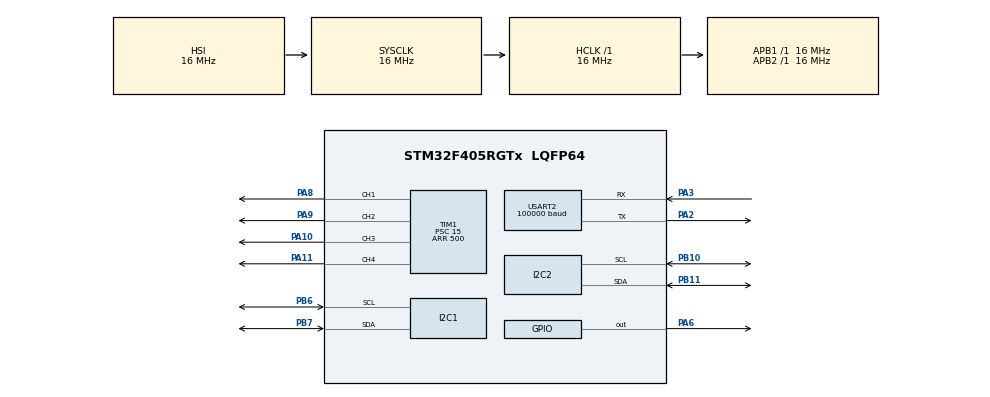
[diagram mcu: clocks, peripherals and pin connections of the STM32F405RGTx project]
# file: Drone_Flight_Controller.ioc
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Mcu.Family=STM32F4
Mcu.Name=STM32F405RGTx
Mcu.Package=LQFP64
NVIC.PriorityGroup=NVIC_PRIORITYGROUP_4
NVIC.USART2_IRQn=true\:0\:0\:false\:false\:true\:true\:true\:true
PA10.GPIO_Speed=GPIO_SPEED_FREQ_VERY_HIGH
PA10.Signal=S_TIM1_CH3
PA11.GPIO_Speed=GPIO_SPEED_FREQ_VERY_HIGH
PA11.Signal=S_TIM1_CH4
PA13.Mode=Serial_Wire
PA13.Signal=SYS_JTMS-SWDIO
PA14.Mode=Serial_Wire
PA14.Signal=SYS_JTCK-SWCLK
PA2.Mode=Asynchronous
PA2.Signal=USART2_TX
PA3.Mode=Asynchronous
PA3.Signal=USART2_RX
PA6.Signal=GPIO_Output
PA8.GPIO_Speed=GPIO_SPEED_FREQ_VERY_HIGH
PA8.Signal=S_TIM1_CH1
PA9.GPIO_Speed=GPIO_SPEED_FREQ_VERY_HIGH
PA9.Signal=S_TIM1_CH2
PB10.Mode=I2C
PB10.Signal=I2C2_SCL
PB11.Mode=I2C
PB11.Signal=I2C2_SDA
PB6.Mode=I2C
PB6.Signal=I2C1_SCL
PB7.Mode=I2C
PB7.Signal=I2C1_SDA
PH0-OSC_IN.Mode=HSE-External-Oscillator
PH0-OSC_IN.Signal=RCC_OSC_IN
PH1-OSC_OUT.Mode=HSE-External-Oscillator
PH1-OSC_OUT.Signal=RCC_OSC_OUT
ProjectManager.HeapSize=0x200
ProjectManager.StackSize=0x400
ProjectManager.TargetToolchain=STM32CubeIDE
RCC.48MHZClocksFreq_Value=36000000
RCC.AHBFreq_Value=16000000
RCC.APB1Freq_Value=16000000
RCC.APB1TimFreq_Value=16000000
RCC.APB2Freq_Value=16000000
RCC.APB2TimFreq_Value=16000000
RCC.CortexFreq_Value=16000000
RCC.HCLKFreq_Value=16000000
RCC.HSE_VALUE=25000000
RCC.HSI_VALUE=16000000
RCC.LSE_VALUE=32768
RCC.PLLM=8
RCC.PLLN=72
RCC.PLLP=RCC_PLLP_DIV6
RCC.SYSCLKFreq_VALUE=16000000
RCC.VCOOutputFreq_Value=144000000
SH.S_TIM1_CH1.0=TIM1_CH1,PWM Generation1 CH1
SH.S_TIM1_CH2.0=TIM1_CH2,PWM Generation2 CH2
SH.S_TIM1_CH3.0=TIM1_CH3,PWM Generation3 CH3
SH.S_TIM1_CH4.0=TIM1_CH4,PWM Generation4 CH4
TIM1.AutoReloadPreload=TIM_AUTORELOAD_PRELOAD_ENABLE
TIM1.Channel-PWM\ Generation1\ CH1=TIM_CHANNEL_1
TIM1.Channel-PWM\ Generation2\ CH2=TIM_CHANNEL_2
TIM1.Channel-PWM\ Generation3\ CH3=TIM_CHANNEL_3
TIM1.Channel-PWM\ Generation4\ CH4=TIM_CHANNEL_4
TIM1.OCFastMode_PWM-PWM\ Generation1\ CH1=TIM_OCFAST_DISABLE
TIM1.OCFastMode_PWM-PWM\ Generation2\ CH2=TIM_OCFAST_DISABLE
TIM1.OCFastMode_PWM-PWM\ Generation3\ CH3=TIM_OCFAST_DISABLE
TIM1.OCFastMode_PWM-PWM\ Generation4\ CH4=TIM_OCFAST_DISABLE
TIM1.Period=500
TIM1.Prescaler=15
TIM1.Pulse-PWM\ Generation1\ CH1=125
TIM1.Pulse-PWM\ Generation2\ CH2=125
TIM1.Pulse-PWM\ Generation3\ CH3=125
TIM1.Pulse-PWM\ Generation4\ CH4=125
USART2.BaudRate=100000
USART2.Parity=PARITY_EVEN
USART2.StopBits=STOPBITS_2
USART2.VirtualMode=VM_ASYNC
VP_TIM1_VS_ClockSourceINT.Mode=Internal
VP_TIM2_VS_ClockSourceINT.Mode=Internal
board=custom

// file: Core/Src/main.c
/* USER CODE BEGIN Header */
/**
  ******************************************************************************
  * @file           : main.c
  * @brief          : Main program body
  ******************************************************************************
  * @attention
  *
  * Copyright (c) 2025 STMicroelectronics.
  * All rights reserved.
  *
  * This software is licensed under terms that can be found in the LICENSE file
  * in the root directory of this software component.
  * If no LICENSE file comes with this software, it is provided AS-IS.
  *
  ******************************************************************************
  */
/* USER CODE END Header */
#include "main.h"

I2C_HandleTypeDef hi2c1;
I2C_HandleTypeDef hi2c2;

TIM_HandleTypeDef htim1;
TIM_HandleTypeDef htim2;

UART_HandleTypeDef huart2;

/* USER CODE BEGIN PV */

volatile unsigned char IMU_ready = 0;
volatile unsigned char Mag_ready = 0;
volatile unsigned char Baro_ready = 0;

volatile unsigned char armed = 1;

// Sensor Variables
float accel_x = 0;
float accel_y = 0;
float accel_z = 0;
float gyro_x = 0;
float gyro_y = 0;
float gyro_z = 0;

float temperature = 0;
float pressure = 0;

float mag_x = 0;
float mag_y = 0;
float mag_z = 0;

uint8_t sbusData[25];

float desired_throttle = MIN_ESC_PWM;
float desired_roll = MIN_ESC_PWM;
float desired_pitch = MIN_ESC_PWM;
float desired_yaw = MIN_ESC_PWM;

/* USER CODE END PV */

void SystemClock_Config(void);
static void MX_GPIO_Init(void);
static void MX_I2C1_Init(void);
static void MX_TIM1_Init(void);
static void MX_USART2_UART_Init(void);
static void MX_I2C2_Init(void);
static void MX_TIM2_Init(void);
/* USER CODE BEGIN PFP */

uint32_t result3 = 0;
void HAL_UART_RxCpltCallback(UART_HandleTypeDef *huart){
	result3 = 100;
	if (huart->Instance == USART2) {
//		if (sbusData[0] == 0x0F && sbusData[24] == 0x00) {
//			// Valid SBUS packet, process channels
//	    	receive_command(sbusData, &desired_roll, &desired_pitch, &desired_yaw, &desired_throttle);
//		}
		HAL_UART_Receive_IT(&huart2, sbusData, 25);
	}
}

void buzzer_on(){
	HAL_GPIO_WritePin(GPIOA, GPIO_PIN_6, GPIO_PIN_SET);
}

void buzzer_off(){
	HAL_GPIO_WritePin(GPIOA, GPIO_PIN_6, GPIO_PIN_RESET);
}

/* USER CODE END PFP */

/* USER CODE BEGIN 0 */

PIDController pid_roll, pid_pitch, pid_yaw;

uint16_t my_motor_value[4] = {50, 50, 50, 48};

/* USER CODE END 0 */

int main(void)
{

  /* MCU Configuration--------------------------------------------------------*/

  /* Reset of all peripherals, Initializes the Flash interface and the Systick. */
  HAL_Init();

  /* Configure the system clock */
  SystemClock_Config();

  /* Initialize all configured peripherals */
  MX_GPIO_Init();
  MX_I2C1_Init();
  MX_TIM1_Init();
  MX_USART2_UART_Init();
  MX_I2C2_Init();
  MX_TIM2_Init();
  /* USER CODE BEGIN 2 */

  // Arm Motors
  Motors_Arm();

//  HAL_Delay(100);
//  init_sensors(&hi2c1);
//  HAL_Delay(100);

  // Begin Listening for radio commands
  HAL_UART_Receive_IT(&huart2, sbusData, 25);

  buzzer_on();

  // Initialize PID controllers (tune these values)
//  PID_Init(&pid_roll, 1.2, 0.01, 0.05, ROLL_MIN, ROLL_MAX);
//  PID_Init(&pid_pitch, 1.2, 0.01, 0.05, PITCH_MIN, PITCH_MAX);
//  PID_Init(&pid_yaw, 1.5, 0.02, 0.1, YAW_MIN, YAW_MAX);

  /* USER CODE END 2 */

  /* Infinite loop */
  /* USER CODE BEGIN WHILE */
  while (1)
  {
//	  if (IMU_ready){
//		  IMU_ready = 0;
//		  read_IMU(&hi2c1, &accel_x, &accel_y, &accel_z, &gyro_x, &gyro_y, &gyro_z);
//
//		  float roll = accel_x;
//		  float pitch = accel_y;
//		  float yaw = accel_z;
//
//		  // Compute PID corrections
//		  float roll_correction = PID_Compute(&pid_roll, desired_roll, roll, 1);
//		  float pitch_correction = PID_Compute(&pid_pitch, desired_pitch, pitch, 1);
//		  float yaw_correction = PID_Compute(&pid_yaw, desired_yaw, yaw, 1);
//
//		  // Apply corrections to motors
//		  set_motor_speeds(desired_throttle, roll_correction, pitch_correction, yaw_correction);
//	  }
//	  if (Mag_ready){
//		  Mag_ready = 0;
//		  read_Mag(&hi2c1, &mag_x, &mag_y, &mag_z);
//	  }
//	  if (Baro_ready){
//		  Baro_ready = 0;
//		  read_Baro(&hi2c1, &temperature, &pressure);
//	  }

	  HAL_Delay(1);

    /* USER CODE END WHILE */

  }
}

void SystemClock_Config(void)
{
  RCC_OscInitTypeDef RCC_OscInitStruct = {0};
  RCC_ClkInitTypeDef RCC_ClkInitStruct = {0};

  /** Configure the main internal regulator output voltage
  */
  __HAL_RCC_PWR_CLK_ENABLE();
  __HAL_PWR_VOLTAGESCALING_CONFIG(PWR_REGULATOR_VOLTAGE_SCALE1);

  /** Initializes the RCC Oscillators according to the specified parameters
  * in the RCC_OscInitTypeDef structure.
  */
  RCC_OscInitStruct.OscillatorType = RCC_OSCILLATORTYPE_HSI;
  RCC_OscInitStruct.HSIState = RCC_HSI_ON;
  RCC_OscInitStruct.HSICalibrationValue = RCC_HSICALIBRATION_DEFAULT;
  RCC_OscInitStruct.PLL.PLLState = RCC_PLL_NONE;
  if (HAL_RCC_OscConfig(&RCC_OscInitStruct) != HAL_OK)
  {
    Error_Handler();
  }

  /** Initializes the CPU, AHB and APB buses clocks
  */
  RCC_ClkInitStruct.ClockType = RCC_CLOCKTYPE_HCLK|RCC_CLOCKTYPE_SYSCLK
                              |RCC_CLOCKTYPE_PCLK1|RCC_CLOCKTYPE_PCLK2;
  RCC_ClkInitStruct.SYSCLKSource = RCC_SYSCLKSOURCE_HSI;
  RCC_ClkInitStruct.AHBCLKDivider = RCC_SYSCLK_DIV1;
  RCC_ClkInitStruct.APB1CLKDivider = RCC_HCLK_DIV1;
  RCC_ClkInitStruct.APB2CLKDivider = RCC_HCLK_DIV1;

  if (HAL_RCC_ClockConfig(&RCC_ClkInitStruct, FLASH_LATENCY_0) != HAL_OK)
  {
    Error_Handler();
  }
}

static void MX_I2C1_Init(void)
{

  hi2c1.Instance = I2C1;
  hi2c1.Init.ClockSpeed = 100000;
  hi2c1.Init.DutyCycle = I2C_DUTYCYCLE_2;
  hi2c1.Init.OwnAddress1 = 0;
  hi2c1.Init.AddressingMode = I2C_ADDRESSINGMODE_7BIT;
  hi2c1.Init.DualAddressMode = I2C_DUALADDRESS_DISABLE;
  hi2c1.Init.OwnAddress2 = 0;
  hi2c1.Init.GeneralCallMode = I2C_GENERALCALL_DISABLE;
  hi2c1.Init.NoStretchMode = I2C_NOSTRETCH_DISABLE;
  if (HAL_I2C_Init(&hi2c1) != HAL_OK)
  {
    Error_Handler();
  }

}

static void MX_I2C2_Init(void)
{

  hi2c2.Instance = I2C2;
  hi2c2.Init.ClockSpeed = 100000;
  hi2c2.Init.DutyCycle = I2C_DUTYCYCLE_2;
  hi2c2.Init.OwnAddress1 = 0;
  hi2c2.Init.AddressingMode = I2C_ADDRESSINGMODE_7BIT;
  hi2c2.Init.DualAddressMode = I2C_DUALADDRESS_DISABLE;
  hi2c2.Init.OwnAddress2 = 0;
  hi2c2.Init.GeneralCallMode = I2C_GENERALCALL_DISABLE;
  hi2c2.Init.NoStretchMode = I2C_NOSTRETCH_DISABLE;
  if (HAL_I2C_Init(&hi2c2) != HAL_OK)
  {
    Error_Handler();
  }

}

static void MX_TIM1_Init(void)
{

  TIM_ClockConfigTypeDef sClockSourceConfig = {0};
  TIM_MasterConfigTypeDef sMasterConfig = {0};
  TIM_OC_InitTypeDef sConfigOC = {0};
  TIM_BreakDeadTimeConfigTypeDef sBreakDeadTimeConfig = {0};

  htim1.Instance = TIM1;
  htim1.Init.Prescaler = 15;
  htim1.Init.CounterMode = TIM_COUNTERMODE_UP;
  htim1.Init.Period = 500;
  htim1.Init.ClockDivision = TIM_CLOCKDIVISION_DIV1;
  htim1.Init.RepetitionCounter = 0;
  htim1.Init.AutoReloadPreload = TIM_AUTORELOAD_PRELOAD_ENABLE;
  if (HAL_TIM_Base_Init(&htim1) != HAL_OK)
  {
    Error_Handler();
  }
  sClockSourceConfig.ClockSource = TIM_CLOCKSOURCE_INTERNAL;
  if (HAL_TIM_ConfigClockSource(&htim1, &sClockSourceConfig) != HAL_OK)
  {
    Error_Handler();
  }
  if (HAL_TIM_PWM_Init(&htim1) != HAL_OK)
  {
    Error_Handler();
  }
  sMasterConfig.MasterOutputTrigger = TIM_TRGO_RESET;
  sMasterConfig.MasterSlaveMode = TIM_MASTERSLAVEMODE_DISABLE;
  if (HAL_TIMEx_MasterConfigSynchronization(&htim1, &sMasterConfig) != HAL_OK)
  {
    Error_Handler();
  }
  sConfigOC.OCMode = TIM_OCMODE_PWM1;
  sConfigOC.Pulse = 125;
  sConfigOC.OCPolarity = TIM_OCPOLARITY_HIGH;
  sConfigOC.OCNPolarity = TIM_OCNPOLARITY_HIGH;
  sConfigOC.OCFastMode = TIM_OCFAST_DISABLE;
  sConfigOC.OCIdleState = TIM_OCIDLESTATE_RESET;
  sConfigOC.OCNIdleState = TIM_OCNIDLESTATE_RESET;
  if (HAL_TIM_PWM_ConfigChannel(&htim1, &sConfigOC, TIM_CHANNEL_1) != HAL_OK)
  {
    Error_Handler();
  }
  if (HAL_TIM_PWM_ConfigChannel(&htim1, &sConfigOC, TIM_CHANNEL_2) != HAL_OK)
  {
    Error_Handler();
  }
  if (HAL_TIM_PWM_ConfigChannel(&htim1, &sConfigOC, TIM_CHANNEL_3) != HAL_OK)
  {
    Error_Handler();
  }
  if (HAL_TIM_PWM_ConfigChannel(&htim1, &sConfigOC, TIM_CHANNEL_4) != HAL_OK)
  {
    Error_Handler();
  }
  sBreakDeadTimeConfig.OffStateRunMode = TIM_OSSR_DISABLE;
  sBreakDeadTimeConfig.OffStateIDLEMode = TIM_OSSI_DISABLE;
  sBreakDeadTimeConfig.LockLevel = TIM_LOCKLEVEL_OFF;
  sBreakDeadTimeConfig.DeadTime = 0;
  sBreakDeadTimeConfig.BreakState = TIM_BREAK_DISABLE;
  sBreakDeadTimeConfig.BreakPolarity = TIM_BREAKPOLARITY_HIGH;
  sBreakDeadTimeConfig.AutomaticOutput = TIM_AUTOMATICOUTPUT_DISABLE;
  if (HAL_TIMEx_ConfigBreakDeadTime(&htim1, &sBreakDeadTimeConfig) != HAL_OK)
  {
    Error_Handler();
  }
  HAL_TIM_MspPostInit(&htim1);

}

static void MX_TIM2_Init(void)
{

  TIM_ClockConfigTypeDef sClockSourceConfig = {0};
  TIM_MasterConfigTypeDef sMasterConfig = {0};

  htim2.Instance = TIM2;
  htim2.Init.Prescaler = 0;
  htim2.Init.CounterMode = TIM_COUNTERMODE_UP;
  htim2.Init.Period = 4294967295;
  htim2.Init.ClockDivision = TIM_CLOCKDIVISION_DIV1;
  htim2.Init.AutoReloadPreload = TIM_AUTORELOAD_PRELOAD_DISABLE;
  if (HAL_TIM_Base_Init(&htim2) != HAL_OK)
  {
    Error_Handler();
  }
  sClockSourceConfig.ClockSource = TIM_CLOCKSOURCE_INTERNAL;
  if (HAL_TIM_ConfigClockSource(&htim2, &sClockSourceConfig) != HAL_OK)
  {
    Error_Handler();
  }
  sMasterConfig.MasterOutputTrigger = TIM_TRGO_RESET;
  sMasterConfig.MasterSlaveMode = TIM_MASTERSLAVEMODE_DISABLE;
  if (HAL_TIMEx_MasterConfigSynchronization(&htim2, &sMasterConfig) != HAL_OK)
  {
    Error_Handler();
  }

}

static void MX_USART2_UART_Init(void)
{

  huart2.Instance = USART2;
  huart2.Init.BaudRate = 100000;
  huart2.Init.WordLength = UART_WORDLENGTH_8B;
  huart2.Init.StopBits = UART_STOPBITS_2;
  huart2.Init.Parity = UART_PARITY_EVEN;
  huart2.Init.Mode = UART_MODE_TX_RX;
  huart2.Init.HwFlowCtl = UART_HWCONTROL_NONE;
  huart2.Init.OverSampling = UART_OVERSAMPLING_16;
  if (HAL_UART_Init(&huart2) != HAL_OK)
  {
    Error_Handler();
  }
  /* USER CODE BEGIN USART2_Init 2 */

  USART2->CR2 |= USART_CR2_RXINV;

  /* USER CODE END USART2_Init 2 */

}

static void MX_GPIO_Init(void)
{
  GPIO_InitTypeDef GPIO_InitStruct = {0};

  /* GPIO Ports Clock Enable */
  __HAL_RCC_GPIOH_CLK_ENABLE();
  __HAL_RCC_GPIOA_CLK_ENABLE();
  __HAL_RCC_GPIOB_CLK_ENABLE();

  /*Configure GPIO pin Output Level */
  HAL_GPIO_WritePin(GPIOA, GPIO_PIN_6, GPIO_PIN_RESET);

  /*Configure GPIO pin : PA6 */
  GPIO_InitStruct.Pin = GPIO_PIN_6;
  GPIO_InitStruct.Mode = GPIO_MODE_OUTPUT_PP;
  GPIO_InitStruct.Pull = GPIO_NOPULL;
  GPIO_InitStruct.Speed = GPIO_SPEED_FREQ_LOW;
  HAL_GPIO_Init(GPIOA, &GPIO_InitStruct);

}

void Error_Handler(void)
{
  __disable_irq();
  while (1)
  {
  }
}
